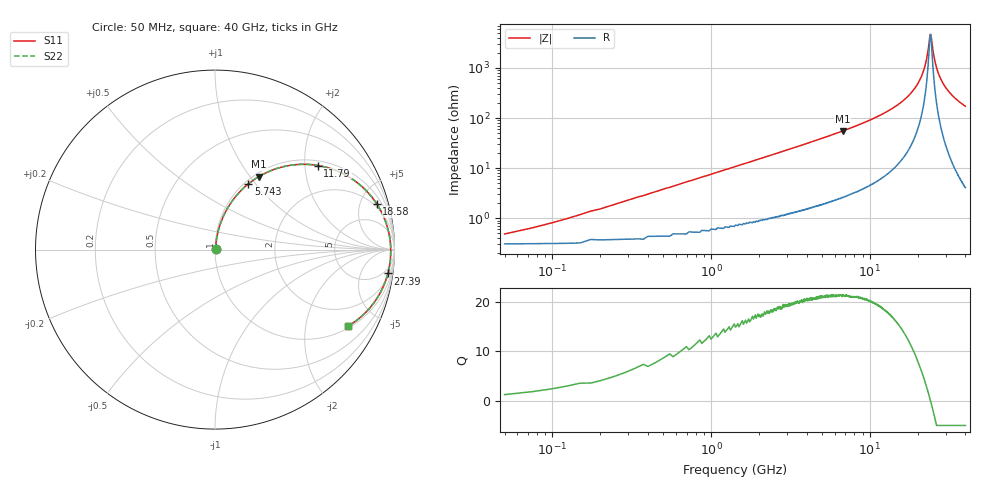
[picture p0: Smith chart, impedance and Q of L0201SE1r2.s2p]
# MHZ S MA R 50
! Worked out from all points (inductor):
!   1601 points, 50 MHz to 40 GHz, reference 50 ohm
!   read as one part in series: L = 1.2 nH near 249.8 MHz
!   highest Q = 21.2 at 6.767 GHz (marker M1), where L = 1.3 nH
!   self-resonance near 24.11 GHz
!   S11 on the Smith chart (normalised r, x): 50 MHz: 1.01, +0.01; 5.743 GHz: 1.04, +0.92; 11.79 GHz: 1.13, +2.33; 18.58 GHz: 1.65, +6.85; 27.39 GHz: 3, -14; 40 GHz: 1.08, -3.44
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50  0.004894 49.9  0.997 -0.2  0.997 -0.2  0.004894 49.9
324.656  0.025 79.5  0.996 -1.4  0.996 -1.4  0.025 79.5
524.406  0.04 81.2  0.995 -2.3  0.995 -2.3  0.04 81.2
873.969  0.066 81.4  0.992 -3.8  0.992 -3.8  0.066 81.4
1398.313  0.105 80.2  0.988 -6.0  0.988 -6.0  0.105 80.2
3121.156  0.23 73.7  0.961 -13.3  0.961 -13.3  0.23 73.7
5742.875  0.41 63.1  0.893 -24.2  0.893 -24.2  0.41 63.1
6716.656  0.472 59.1  0.859 -28.1  0.859 -28.1  0.472 59.1
6766.594  0.475 58.9  0.858 -28.4  0.858 -28.4  0.475 58.9
11785.31  0.74 39.3  0.634 -47.7  0.634 -47.7  0.74 39.3
13383.31  0.804 33.4  0.551 -53.3  0.551 -53.3  0.804 33.4
18576.81  0.937 15.7  0.272 -68.8  0.272 -68.8  0.937 15.7
20025  0.956 11.3  0.197 -71.6  0.197 -71.6  0.956 11.3
22297.16  0.974 4.8  0.086 -70.3  0.086 -70.3  0.974 4.8
24094.91  0.979 0.0  0.021 -1.4  0.021 -1.4  0.979 0.0
24369.56  0.979 -0.7  0.024 29.1  0.024 29.1  0.979 -0.7
25518.12  0.979 -3.5  0.064 68.8  0.064 68.8  0.979 -3.5
26691.66  0.975 -6.3  0.111 74.0  0.111 74.0  0.975 -6.3
27390.78  0.972 -7.9  0.138 74.6  0.138 74.6  0.972 -7.9
29837.72  0.958 -13.1  0.227 72.8  0.227 72.8  0.958 -13.1
33358.31  0.927 -19.7  0.337 67.9  0.337 67.9  0.927 -19.7
40000  0.856 -29.8  0.497 58.8  0.497 58.8  0.856 -29.8
